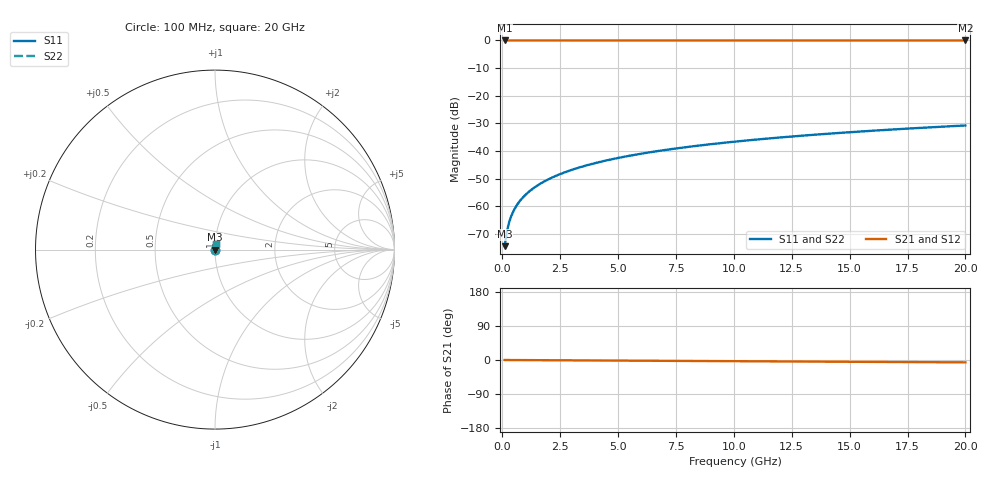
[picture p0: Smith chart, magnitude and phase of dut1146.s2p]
! Touchstone file exported from HFSS 2026.1.0
!  File:  C:/ffzhzh/LocalFiles/Ansys_Project_Files/temp_train_TSV_1146_1783191459_51560.aedt
!  Generated:  02:59:07 AM Jul  5, 2026
!  Design:  TSV
!  Project:  temp_train_TSV_1146_1783191459_51560
! Variables:
!  h_bsmrdl = 2um
!  h_ox = 20um
!  h_rdl = 5um
!  h_sub = 52.17um
!  h_tmrdl = 5um
!  h_tsv = 52.17um
!  h_via = 3um
!  l_bsmrdl = 300um
!  l_sub = 422.28um
!  l_tmrdl = 200um
!  m_sub = 200um
!  pitch = 59.94um
!  r_tsv = 11.14um
!  s_tmrdl = 10um
!  w_bsmrdl = 18um
!  w_sub = 500um
!  w_tmrdl = 12um
!  x_tsv_center1 = 206um
!  x_tsv_center2 = 524um
!  x_tsv_center3 = 736um
!  x_tsv_center4 = 1054um
!  x_tsv_center5 = 1266um
!  x_tsv_center6 = 1584um
# GHz S MA R 50.000000
! Terminal data exported
! Port[1] = TSV1_1_T1
! Port[2] = TSV1_1_T2
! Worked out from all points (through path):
!   200 points, 100 MHz to 20 GHz, reference 50 ohm
!   highest |S21| = 0.00 dB at 100 MHz (marker M1); lowest = 0.0 dB at 20 GHz (marker M2)
!   lowest |S11| = -74.4 dB at 100 MHz (marker M3), VSWR 1.00, Z = 50 + j0.0173 ohm
!   |S11| at or under -10 dB: start of sweep to end of sweep
!   |S22| runs from -74.4 to -30.8 dB; largest |S21 - S12| = 4.4e-15
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0.1  0.0001902 65.6  0.9999 -0.0  0.9999 -0.0  0.0001902 65.6
! Gamma 0 0 0 0
! Port Impedance 50 0 50 0
0.2  0.0003553 75.9  0.9999 -0.1  0.9999 -0.1  0.0003553 75.9
0.3  0.0005221 79.1  0.9999 -0.1  0.9999 -0.1  0.0005221 79.1
0.4  0.0006865 80.5  0.9999 -0.1  0.9999 -0.1  0.0006865 80.5
0.5  0.0008474 81.2  0.9999 -0.2  0.9999 -0.2  0.0008474 81.2
0.6  0.001005 81.7  0.9999 -0.2  0.9999 -0.2  0.001005 81.7
0.7  0.00116 82.0  0.9998 -0.2  0.9998 -0.2  0.00116 82.0
0.9  0.001464 82.5  0.9998 -0.3  0.9998 -0.3  0.001464 82.5
1.1  0.001763 83.0  0.9998 -0.4  0.9998 -0.4  0.001763 83.0
1.3  0.002059 83.4  0.9998 -0.4  0.9998 -0.4  0.002059 83.4
1.6  0.002502 83.9  0.9998 -0.5  0.9998 -0.5  0.002502 83.9
1.9  0.002945 84.3  0.9997 -0.6  0.9997 -0.6  0.002945 84.3
2.6  0.003977 84.9  0.9997 -0.8  0.9997 -0.8  0.003977 84.9
3.5  0.005302 85.2  0.9996 -1.1  0.9996 -1.1  0.005302 85.2
4.2  0.006328 85.3  0.9996 -1.3  0.9996 -1.3  0.006328 85.3
5  0.007497 85.3  0.9996 -1.6  0.9996 -1.6  0.007497 85.3
6.8  0.01011 85.2  0.9995 -2.1  0.9995 -2.1  0.01011 85.2
8.3  0.01228 84.9  0.9994 -2.6  0.9994 -2.6  0.01228 84.9
10.1  0.01487 84.6  0.9993 -3.2  0.9993 -3.2  0.01487 84.6
13.4  0.0196 83.9  0.9991 -4.2  0.9991 -4.2  0.0196 83.9
16.7  0.02431 83.0  0.999 -5.2  0.999 -5.2  0.02431 83.0
20  0.02899 82.1  0.9988 -6.2  0.9988 -6.2  0.02899 82.1
